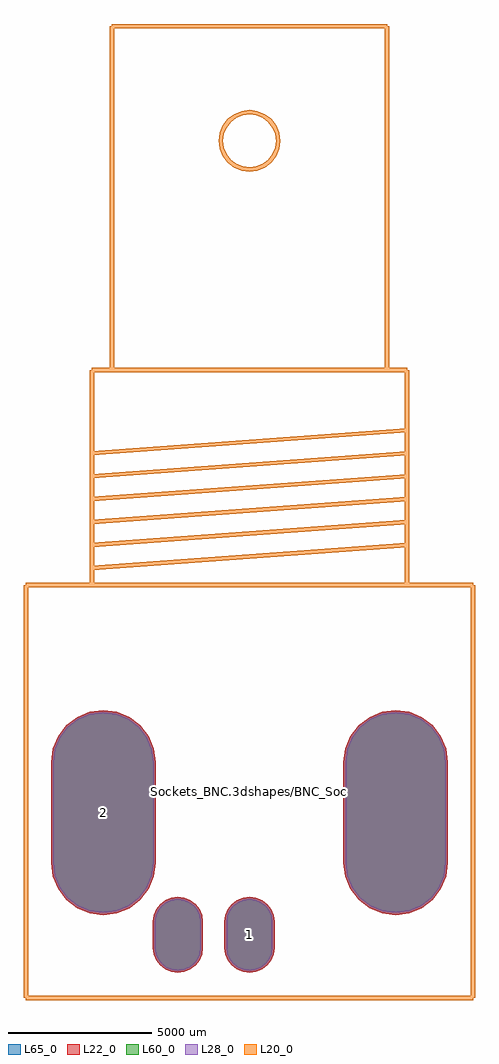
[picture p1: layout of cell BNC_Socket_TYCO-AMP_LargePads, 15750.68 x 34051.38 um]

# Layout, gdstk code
import gdstk
lib = gdstk.Library(unit=1e-6, precision=1e-09)
def P(c, l, *ps):  # polygons
    for p in ps: c.add(gdstk.Polygon(p, *l))
L20_0 = (20, 0)
L22_0 = (22, 0)
L28_0 = (28, 0)
L60_0 = (60, 0)
L65_0 = (65, 0)

bnc_socket_tyco_amp_larg = lib.new_cell('BNC_Socket_TYCO-AMP_LargePads')
P(bnc_socket_tyco_amp_larg, L22_0, [(-2499.36,-6325.94),(-2272.867,-6296.122),(-2061.81,-6208.699),(-1880.571,-6069.629),(-1741.501,-5888.39),(-1654.078,-5677.333),(-1624.26,-5450.84),(-1624.26,-4551.68),(-1654.078,-4325.187),(-1741.501,-4114.13),(-1880.571,-3932.891),(-2061.81,-3793.821),(-2272.867,-3706.398),(-2499.36,-3676.58),(-2725.853,-3706.398),(-2936.91,-3793.821),(-3118.149,-3932.891),(-3257.219,-4114.13),(-3344.642,-4325.187),(-3374.46,-4551.68),(-3374.46,-5450.84),(-3344.642,-5677.333),(-3257.219,-5888.39),(-3118.149,-6069.629),(-2936.91,-6208.699),(-2725.853,-6296.122)],
  [(0,-6325.94),(226.493,-6296.122),(437.55,-6208.699),(618.789,-6069.629),(757.859,-5888.39),(845.282,-5677.333),(875.1,-5450.84),(875.1,-4551.68),(845.282,-4325.187),(757.859,-4114.13),(618.789,-3932.891),(437.55,-3793.821),(226.493,-3706.398),(0,-3676.58),(-226.493,-3706.398),(-437.55,-3793.821),(-618.789,-3932.891),(-757.859,-4114.13),(-845.282,-4325.187),(-875.1,-4551.68),(-875.1,-5450.84),(-845.282,-5677.333),(-757.859,-5888.39),(-618.789,-6069.629),(-437.55,-6208.699),(-226.493,-6296.122)],
  [(5100.32,-4311.72),(5572.68,-4249.533),(6012.85,-4067.208),(6390.832,-3777.172),(6680.868,-3399.19),(6863.193,-2959.02),(6925.38,-2486.66),(6925.38,1013.46),(6863.193,1485.82),(6680.868,1925.99),(6390.832,2303.972),(6012.85,2594.008),(5572.68,2776.333),(5100.32,2838.52),(4627.96,2776.333),(4187.79,2594.008),(3809.808,2303.972),(3519.772,1925.99),(3337.447,1485.82),(3275.26,1013.46),(3275.26,-2486.66),(3337.447,-2959.02),(3519.772,-3399.19),(3809.808,-3777.172),(4187.79,-4067.208),(4627.96,-4249.533)],
  [(-5097.78,-4311.72),(-4625.42,-4249.533),(-4185.25,-4067.208),(-3807.268,-3777.172),(-3517.232,-3399.19),(-3334.907,-2959.02),(-3272.72,-2486.66),(-3272.72,1013.46),(-3334.907,1485.82),(-3517.232,1925.99),(-3807.268,2303.972),(-4185.25,2594.008),(-4625.42,2776.333),(-5097.78,2838.52),(-5570.14,2776.333),(-6010.31,2594.008),(-6388.292,2303.972),(-6678.328,1925.99),(-6860.653,1485.82),(-6922.84,1013.46),(-6922.84,-2486.66),(-6860.653,-2959.02),(-6678.328,-3399.19),(-6388.292,-3777.172),(-6010.31,-4067.208),(-5570.14,-4249.533)])
P(bnc_socket_tyco_amp_larg, L28_0, [(-2499.36,-6250.94),(-2292.279,-6223.677),(-2099.31,-6143.747),(-1933.604,-6016.596),(-1806.453,-5850.89),(-1726.523,-5657.921),(-1699.26,-5450.84),(-1699.26,-4551.68),(-1726.523,-4344.599),(-1806.453,-4151.63),(-1933.604,-3985.924),(-2099.31,-3858.773),(-2292.279,-3778.843),(-2499.36,-3751.58),(-2706.441,-3778.843),(-2899.41,-3858.773),(-3065.116,-3985.924),(-3192.267,-4151.63),(-3272.197,-4344.599),(-3299.46,-4551.68),(-3299.46,-5450.84),(-3272.197,-5657.921),(-3192.267,-5850.89),(-3065.116,-6016.596),(-2899.41,-6143.747),(-2706.441,-6223.677)],
  [(0,-6250.94),(207.081,-6223.677),(400.05,-6143.747),(565.756,-6016.596),(692.907,-5850.89),(772.837,-5657.921),(800.1,-5450.84),(800.1,-4551.68),(772.837,-4344.599),(692.907,-4151.63),(565.756,-3985.924),(400.05,-3858.773),(207.081,-3778.843),(0,-3751.58),(-207.081,-3778.843),(-400.05,-3858.773),(-565.756,-3985.924),(-692.907,-4151.63),(-772.837,-4344.599),(-800.1,-4551.68),(-800.1,-5450.84),(-772.837,-5657.921),(-692.907,-5850.89),(-565.756,-6016.596),(-400.05,-6143.747),(-207.081,-6223.677)],
  [(5100.32,-4236.72),(5553.269,-4177.088),(5975.35,-4002.256),(6337.799,-3724.139),(6615.916,-3361.69),(6790.748,-2939.609),(6850.38,-2486.66),(6850.38,1013.46),(6790.748,1466.409),(6615.916,1888.49),(6337.799,2250.939),(5975.35,2529.056),(5553.269,2703.888),(5100.32,2763.52),(4647.371,2703.888),(4225.29,2529.056),(3862.841,2250.939),(3584.724,1888.49),(3409.892,1466.409),(3350.26,1013.46),(3350.26,-2486.66),(3409.892,-2939.609),(3584.724,-3361.69),(3862.841,-3724.139),(4225.29,-4002.256),(4647.371,-4177.088)],
  [(-5097.78,-4236.72),(-4644.831,-4177.088),(-4222.75,-4002.256),(-3860.301,-3724.139),(-3582.184,-3361.69),(-3407.352,-2939.609),(-3347.72,-2486.66),(-3347.72,1013.46),(-3407.352,1466.409),(-3582.184,1888.49),(-3860.301,2250.939),(-4222.75,2529.056),(-4644.831,2703.888),(-5097.78,2763.52),(-5550.729,2703.888),(-5972.81,2529.056),(-6335.259,2250.939),(-6613.376,1888.49),(-6788.208,1466.409),(-6847.84,1013.46),(-6847.84,-2486.66),(-6788.208,-2939.609),(-6613.376,-3361.69),(-6335.259,-3724.139),(-5972.81,-4002.256),(-5550.729,-4177.088)])
P(bnc_socket_tyco_amp_larg, L60_0, [(-2499.36,-6250.94),(-2292.279,-6223.677),(-2099.31,-6143.747),(-1933.604,-6016.596),(-1806.453,-5850.89),(-1726.523,-5657.921),(-1699.26,-5450.84),(-1699.26,-4551.68),(-1726.523,-4344.599),(-1806.453,-4151.63),(-1933.604,-3985.924),(-2099.31,-3858.773),(-2292.279,-3778.843),(-2499.36,-3751.58),(-2706.441,-3778.843),(-2899.41,-3858.773),(-3065.116,-3985.924),(-3192.267,-4151.63),(-3272.197,-4344.599),(-3299.46,-4551.68),(-3299.46,-5450.84),(-3272.197,-5657.921),(-3192.267,-5850.89),(-3065.116,-6016.596),(-2899.41,-6143.747),(-2706.441,-6223.677)],
  [(0,-6250.94),(207.081,-6223.677),(400.05,-6143.747),(565.756,-6016.596),(692.907,-5850.89),(772.837,-5657.921),(800.1,-5450.84),(800.1,-4551.68),(772.837,-4344.599),(692.907,-4151.63),(565.756,-3985.924),(400.05,-3858.773),(207.081,-3778.843),(0,-3751.58),(-207.081,-3778.843),(-400.05,-3858.773),(-565.756,-3985.924),(-692.907,-4151.63),(-772.837,-4344.599),(-800.1,-4551.68),(-800.1,-5450.84),(-772.837,-5657.921),(-692.907,-5850.89),(-565.756,-6016.596),(-400.05,-6143.747),(-207.081,-6223.677)],
  [(5100.32,-4236.72),(5553.269,-4177.088),(5975.35,-4002.256),(6337.799,-3724.139),(6615.916,-3361.69),(6790.748,-2939.609),(6850.38,-2486.66),(6850.38,1013.46),(6790.748,1466.409),(6615.916,1888.49),(6337.799,2250.939),(5975.35,2529.056),(5553.269,2703.888),(5100.32,2763.52),(4647.371,2703.888),(4225.29,2529.056),(3862.841,2250.939),(3584.724,1888.49),(3409.892,1466.409),(3350.26,1013.46),(3350.26,-2486.66),(3409.892,-2939.609),(3584.724,-3361.69),(3862.841,-3724.139),(4225.29,-4002.256),(4647.371,-4177.088)],
  [(-5097.78,-4236.72),(-4644.831,-4177.088),(-4222.75,-4002.256),(-3860.301,-3724.139),(-3582.184,-3361.69),(-3407.352,-2939.609),(-3347.72,-2486.66),(-3347.72,1013.46),(-3407.352,1466.409),(-3582.184,1888.49),(-3860.301,2250.939),(-4222.75,2529.056),(-4644.831,2703.888),(-5097.78,2763.52),(-5550.729,2703.888),(-5972.81,2529.056),(-6335.259,2250.939),(-6613.376,1888.49),(-6788.208,1466.409),(-6847.84,1013.46),(-6847.84,-2486.66),(-6788.208,-2939.609),(-6613.376,-3361.69),(-6335.259,-3724.139),(-5972.81,-4002.256),(-5550.729,-4177.088)])
P(bnc_socket_tyco_amp_larg, L65_0, [(-2499.36,-6325.94),(-2272.867,-6296.122),(-2061.81,-6208.699),(-1880.571,-6069.629),(-1741.501,-5888.39),(-1654.078,-5677.333),(-1624.26,-5450.84),(-1624.26,-4551.68),(-1654.078,-4325.187),(-1741.501,-4114.13),(-1880.571,-3932.891),(-2061.81,-3793.821),(-2272.867,-3706.398),(-2499.36,-3676.58),(-2725.853,-3706.398),(-2936.91,-3793.821),(-3118.149,-3932.891),(-3257.219,-4114.13),(-3344.642,-4325.187),(-3374.46,-4551.68),(-3374.46,-5450.84),(-3344.642,-5677.333),(-3257.219,-5888.39),(-3118.149,-6069.629),(-2936.91,-6208.699),(-2725.853,-6296.122)],
  [(0,-6325.94),(226.493,-6296.122),(437.55,-6208.699),(618.789,-6069.629),(757.859,-5888.39),(845.282,-5677.333),(875.1,-5450.84),(875.1,-4551.68),(845.282,-4325.187),(757.859,-4114.13),(618.789,-3932.891),(437.55,-3793.821),(226.493,-3706.398),(0,-3676.58),(-226.493,-3706.398),(-437.55,-3793.821),(-618.789,-3932.891),(-757.859,-4114.13),(-845.282,-4325.187),(-875.1,-4551.68),(-875.1,-5450.84),(-845.282,-5677.333),(-757.859,-5888.39),(-618.789,-6069.629),(-437.55,-6208.699),(-226.493,-6296.122)],
  [(5100.32,-4311.72),(5572.68,-4249.533),(6012.85,-4067.208),(6390.832,-3777.172),(6680.868,-3399.19),(6863.193,-2959.02),(6925.38,-2486.66),(6925.38,1013.46),(6863.193,1485.82),(6680.868,1925.99),(6390.832,2303.972),(6012.85,2594.008),(5572.68,2776.333),(5100.32,2838.52),(4627.96,2776.333),(4187.79,2594.008),(3809.808,2303.972),(3519.772,1925.99),(3337.447,1485.82),(3275.26,1013.46),(3275.26,-2486.66),(3337.447,-2959.02),(3519.772,-3399.19),(3809.808,-3777.172),(4187.79,-4067.208),(4627.96,-4249.533)],
  [(-5097.78,-4311.72),(-4625.42,-4249.533),(-4185.25,-4067.208),(-3807.268,-3777.172),(-3517.232,-3399.19),(-3334.907,-2959.02),(-3272.72,-2486.66),(-3272.72,1013.46),(-3334.907,1485.82),(-3517.232,1925.99),(-3807.268,2303.972),(-4185.25,2594.008),(-4625.42,2776.333),(-5097.78,2838.52),(-5570.14,2776.333),(-6010.31,2594.008),(-6388.292,2303.972),(-6678.328,1925.99),(-6860.653,1485.82),(-6922.84,1013.46),(-6922.84,-2486.66),(-6860.653,-2959.02),(-6678.328,-3399.19),(-6388.292,-3777.172),(-6010.31,-4067.208),(-5570.14,-4249.533)])
bnc_socket_tyco_amp_larg.add(gdstk.FlexPath([(-7800.34,7200.9),(-7800.34,-7200.9)], 149.998, ends="flush", simple_path=True, layer=20, datatype=0))  # L20_0
bnc_socket_tyco_amp_larg.add(gdstk.FlexPath([(7800.34,7200.9),(-7800.34,7200.9)], 149.998, ends="flush", simple_path=True, layer=20, datatype=0))  # L20_0
bnc_socket_tyco_amp_larg.add(gdstk.FlexPath([(7800.34,-7200.9),(7800.34,7200.9)], 149.998, ends="flush", simple_path=True, layer=20, datatype=0))  # L20_0
bnc_socket_tyco_amp_larg.add(gdstk.FlexPath([(-7800.34,-7200.9),(7800.34,-7200.9)], 149.998, ends="flush", simple_path=True, layer=20, datatype=0))  # L20_0
bnc_socket_tyco_amp_larg.add(gdstk.FlexPath([(-5499.1,14698.98),(-5499.1,7200.9)], 149.998, ends="flush", simple_path=True, layer=20, datatype=0))  # L20_0
bnc_socket_tyco_amp_larg.add(gdstk.FlexPath([(5499.1,14698.98),(-5499.1,14698.98)], 149.998, ends="flush", simple_path=True, layer=20, datatype=0))  # L20_0
bnc_socket_tyco_amp_larg.add(gdstk.FlexPath([(5499.1,7200.9),(5499.1,14698.98)], 149.998, ends="flush", simple_path=True, layer=20, datatype=0))  # L20_0
bnc_socket_tyco_amp_larg.add(gdstk.FlexPath([(-4800.6,26700.48),(-4800.6,14698.98)], 149.998, ends="flush", simple_path=True, layer=20, datatype=0))  # L20_0
bnc_socket_tyco_amp_larg.add(gdstk.FlexPath([(4800.6,26700.48),(-4800.6,26700.48)], 149.998, ends="flush", simple_path=True, layer=20, datatype=0))  # L20_0
bnc_socket_tyco_amp_larg.add(gdstk.FlexPath([(4800.6,14698.98),(4800.6,26700.48)], 149.998, ends="flush", simple_path=True, layer=20, datatype=0))  # L20_0
bnc_socket_tyco_amp_larg.add(gdstk.FlexPath([(1000.76,22699.98),(966.66,22958.996),(866.684,23200.36),(707.644,23407.624),(500.38,23566.664),(259.016,23666.64),(0,23700.74),(-259.016,23666.64),(-500.38,23566.664),(-707.644,23407.624),(-866.684,23200.36),(-966.66,22958.996),(-1000.76,22699.98),(-966.66,22440.964),(-866.684,22199.6),(-707.644,21992.336),(-500.38,21833.296),(-259.016,21733.32),(0,21699.22),(259.016,21733.32),(500.38,21833.296),(707.644,21992.336),(866.684,22199.6),(966.66,22440.964),(1000.76,22699.98)], 149.998, ends="flush", simple_path=True, layer=20, datatype=0))  # L20_0
bnc_socket_tyco_amp_larg.add(gdstk.FlexPath([(-5499.1,7800.34),(5499.1,8600.44)], 149.998, ends="flush", simple_path=True, layer=20, datatype=0))  # L20_0
bnc_socket_tyco_amp_larg.add(gdstk.FlexPath([(-5499.1,8600.44),(5499.1,9400.54)], 149.998, ends="flush", simple_path=True, layer=20, datatype=0))  # L20_0
bnc_socket_tyco_amp_larg.add(gdstk.FlexPath([(-5499.1,9400.54),(5499.1,10200.64)], 149.998, ends="flush", simple_path=True, layer=20, datatype=0))  # L20_0
bnc_socket_tyco_amp_larg.add(gdstk.FlexPath([(-5499.1,10200.64),(5499.1,11000.74)], 149.998, ends="flush", simple_path=True, layer=20, datatype=0))  # L20_0
bnc_socket_tyco_amp_larg.add(gdstk.FlexPath([(-5499.1,11000.74),(5499.1,11800.84)], 149.998, ends="flush", simple_path=True, layer=20, datatype=0))  # L20_0
bnc_socket_tyco_amp_larg.add(gdstk.FlexPath([(-5499.1,11800.84),(5499.1,12600.94)], 149.998, ends="flush", simple_path=True, layer=20, datatype=0))  # L20_0
bnc_socket_tyco_amp_larg.add(gdstk.Label('Sockets_BNC.3dshapes/BNC_Socket_TYCO-AMP_LargePads.wrl', (0,0), layer=12, texttype=0))
bnc_socket_tyco_amp_larg.add(gdstk.Label('1', (0,-5001.26), layer=28, texttype=0))
bnc_socket_tyco_amp_larg.add(gdstk.Label('2', (-5097.78,-736.6), layer=28, texttype=0))
bnc_socket_tyco_amp_larg.add(gdstk.Label('type', (10899.14,9601.2), layer=9, texttype=0))
bnc_socket_tyco_amp_larg.add(gdstk.Label('devicename', (508,-9652), layer=9, texttype=0))

lib.write_gds('BNC_Socket_TYCO-AMP_LargePads.gds')
